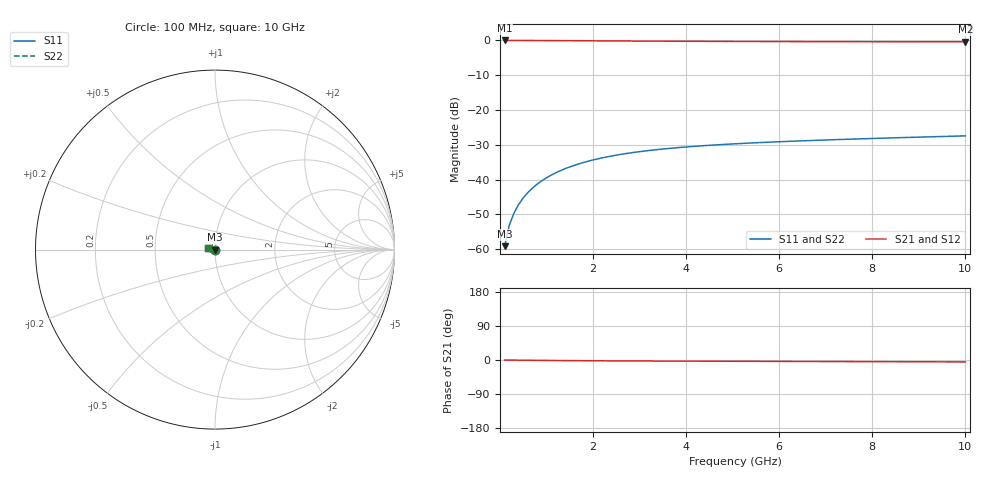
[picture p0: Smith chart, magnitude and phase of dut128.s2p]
! Touchstone file exported from HFSS 2024.1.0
!  File:  C:/UserFiles/LocalFiles/RDL_TSV_Batchsim/temp_TSV1_128_1779379349.aedt
!  Generated:  12:08:59 AM May 22, 2026
!  Design:  TSV1
!  Project:  temp_TSV1_128_1779379349
!  Setup:  Setup1
!  Solution:  Sweep
! Variables:
!  dtsv = 10.11um
!  hbump = 3um
!  htsv = 75.21um
!  lrdl = 252.1521522um
!  p = 40
!  p1 = 57.46um
!  t = 500um
!  trdl = 3um
!  wrdl = 24.89489489um
# GHz S MA R 50.000000
! Terminal data exported
! Port[1] = TSV22_T1
! Port[2] = TSV22_T2
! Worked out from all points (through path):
!   100 points, 100 MHz to 10 GHz, reference 50 ohm
!   highest |S21| = 0.00 dB at 100 MHz (marker M1); lowest = -0.4 dB at 10 GHz (marker M2)
!   lowest |S11| = -59.2 dB at 100 MHz (marker M3), VSWR 1.00, Z = 50 - j0.11 ohm
!   |S11| at or under -10 dB: start of sweep to end of sweep
!   |S22| runs from -59.2 to -27.4 dB; largest |S21 - S12| = 7.5e-15
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0.1  0.001101 -85.0  0.9998 -0.1  0.9998 -0.1  0.001101 -85.0
! Gamma 0 0 0 0
! Port Impedance 50 0 50 0
0.2  0.002191 -90.4  0.9997 -0.2  0.9997 -0.2  0.002191 -90.4
0.3  0.003282 -93.6  0.9995 -0.4  0.9995 -0.4  0.003282 -93.6
0.4  0.004368 -96.2  0.9992 -0.5  0.9992 -0.5  0.004368 -96.2
0.5  0.005445 -98.6  0.9988 -0.6  0.9988 -0.6  0.005445 -98.6
0.6  0.006509 -100.9  0.9984 -0.7  0.9984 -0.7  0.006509 -100.9
0.7  0.007559 -103.1  0.9979 -0.8  0.9979 -0.8  0.007559 -103.1
0.8  0.00859 -105.3  0.9973 -0.9  0.9973 -0.9  0.00859 -105.3
0.9  0.009602 -107.4  0.9967 -1.0  0.9967 -1.0  0.009602 -107.4
1.1  0.01156 -111.4  0.9954 -1.2  0.9954 -1.2  0.01156 -111.4
1.4  0.01431 -117.2  0.9931 -1.5  0.9931 -1.5  0.01431 -117.2
1.6  0.01602 -120.8  0.9914 -1.7  0.9914 -1.7  0.01602 -120.8
1.8  0.01762 -124.3  0.9897 -1.9  0.9897 -1.9  0.01762 -124.3
2.1  0.01983 -129.3  0.9871 -2.1  0.9871 -2.1  0.01983 -129.3
2.5  0.02242 -135.5  0.9836 -2.3  0.9836 -2.3  0.02242 -135.5
2.9  0.02465 -141.1  0.9804 -2.5  0.9804 -2.5  0.02465 -141.1
3.4  0.02703 -147.4  0.9768 -2.8  0.9768 -2.8  0.02703 -147.4
4.2  0.03009 -156.3  0.9719 -3.1  0.9719 -3.1  0.03009 -156.3
5.1  0.03277 -164.7  0.9676 -3.4  0.9676 -3.4  0.03277 -164.7
6.7  0.03645 -177.0  0.9623 -3.9  0.9623 -3.9  0.03645 -177.0
8.4  0.03966 172.6  0.9587 -4.5  0.9587 -4.5  0.03966 172.6
10  0.04244 164.4  0.9564 -5.0  0.9564 -5.0  0.04244 164.4
